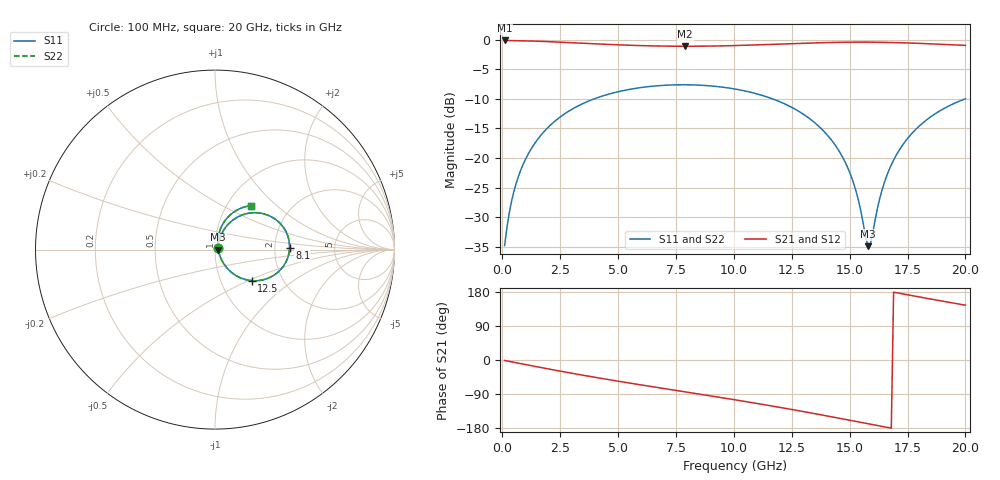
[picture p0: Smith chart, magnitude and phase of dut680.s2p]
! Touchstone file exported from HFSS 2026.1.0
!  File:  C:/ffzhzh/LocalFiles/Ansys_Project_Files/temp_train_TSV_RDL_680_1783133711_53076.aedt
!  Generated:  11:03:40 AM Jul  4, 2026
!  Design:  TSV_RDL
!  Project:  temp_train_TSV_RDL_680_1783133711_53076
! Variables:
!  h_bsmrdl = 4.76um
!  h_ox = 20um
!  h_rdl = 5um
!  h_sub = 52.83um
!  h_tmrdl = 5.49um
!  h_tsv = 52.83um
!  h_via = 3um
!  l_bsmrdl = 603.24um
!  l_sub = 3628.03um
!  l_tmrdl = 330um
!  m_sub = 200um
!  pitch = 38.45um
!  r_tsv = 12.96um
!  s_tmrdl = 10um
!  w_bsmrdl = 21.33um
!  w_sub = 500um
!  w_tmrdl = 11.44um
!  x_tsv_center1 = 335.72um
!  x_tsv_center2 = 960.29um
!  x_tsv_center3 = 1301.73um
!  x_tsv_center4 = 1926.3um
!  x_tsv_center5 = 2267.74um
!  x_tsv_center6 = 2892.31um
# GHz S MA R 50.000000
! Terminal data exported
! Port[1] = TM_RDL1_1_T1
! Port[2] = TM_RDL5_1_T1
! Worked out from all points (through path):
!   200 points, 100 MHz to 20 GHz, reference 50 ohm
!   highest |S21| = -0.13 dB at 100 MHz (marker M1); lowest = -1.1 dB at 7.9 GHz (marker M2)
!   group delay of S21, straight-line fit = 29.3 ps
!   lowest |S11| = -34.9 dB at 15.8 GHz (marker M3), VSWR 1.04, Z = 51.8 + j0.0183 ohm
!   |S11| at or under -10 dB: start of sweep to 3.97 GHz; 11.67 GHz to 19.99 GHz (8.324 GHz wide, 52.6 % of centre)
!   |S22| runs from -34.9 to -7.6 dB; largest |S21 - S12| = 2.7e-14
!   S11 on the Smith chart (normalised r, x): 100 MHz: 1.03, +0.02; 8.1 GHz: 2.42, +0.06; 12.5 GHz: 1.40, -0.52; 20 GHz: 1.29, +0.70
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0.1  0.01819 34.3  0.9852 -1.3  0.9852 -1.3  0.01819 34.3
! Gamma 0 0 0 0
! Port Impedance 50 0 50 0
0.3  0.03428 58.4  0.9835 -3.7  0.9835 -3.7  0.03428 58.4
0.5  0.0521 65.1  0.982 -6.1  0.982 -6.1  0.0521 65.1
1.1  0.1064 66.8  0.976 -13.2  0.976 -13.2  0.1064 66.8
2.1  0.1914 58.9  0.9606 -24.9  0.9606 -24.9  0.1914 58.9
3.5  0.2897 45.0  0.9328 -40.3  0.9328 -40.3  0.2897 45.0
6.8  0.4093 13.3  0.8837 -73.6  0.8837 -73.6  0.4094 13.3
7.9  0.4161 3.2  0.8799 -84.1  0.8799 -84.1  0.4161 3.2
8.1  0.4156 1.3  0.88 -86.1  0.88 -86.1  0.4156 1.3
10.1  0.3814 -17.2  0.8927 -105.6  0.8927 -105.6  0.3814 -17.2
12.5  0.268 -40.2  0.9266 -130.5  0.9266 -130.5  0.268 -40.2
13.4  0.2058 -48.7  0.9391 -140.5  0.9391 -140.5  0.2058 -48.7
14.3  0.1349 -56.0  0.9486 -150.7  0.9486 -150.7  0.1349 -56.1
14.9  0.08441 -58.2  0.9523 -157.7  0.9523 -157.7  0.08442 -58.2
15.3  0.05057 -54.3  0.9533 -162.4  0.9533 -162.4  0.05058 -54.3
15.8  0.018 0.6  0.953 -168.2  0.953 -168.2  0.01801 0.5
15.9  0.01882 27.4  0.9527 -169.4  0.9527 -169.4  0.01884 27.4
16.3  0.04545 70.7  0.9508 -174.1  0.9508 -174.1  0.04546 70.7
16.7  0.07909 76.2  0.9477 -178.7  0.9477 -178.7  0.0791 76.2
17.3  0.1296 74.6  0.9411 174.4  0.9411 174.4  0.1297 74.6
18  0.1857 69.3  0.9309 166.4  0.9309 166.4  0.1857 69.3
20  0.3166 50.6  0.8951 144.7  0.8951 144.7  0.3166 50.6
